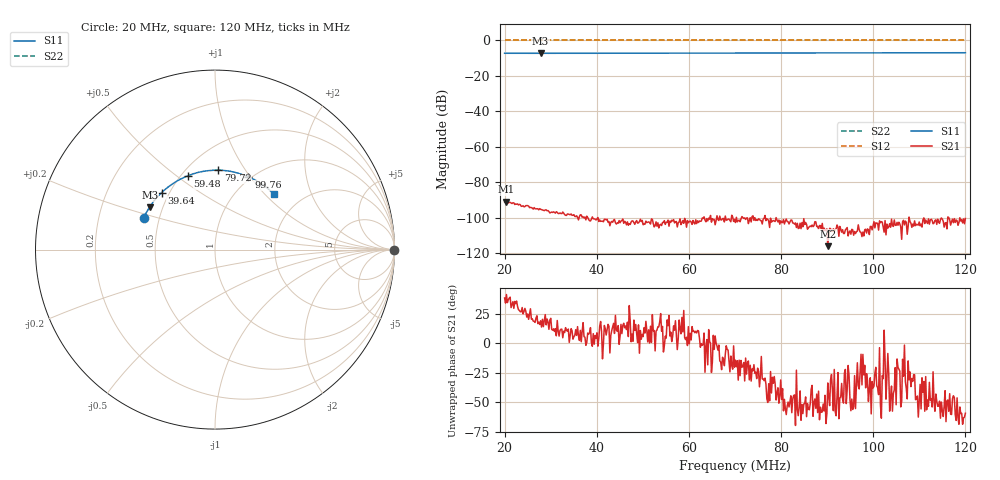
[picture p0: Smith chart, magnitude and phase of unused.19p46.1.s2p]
! Anritsu VNA Master:  Model: MS2036C/10/77
! SN:  1601066
! /bd0/18may08.cable.cal/unused.19p46.1.s2p
! Existing Calibration Information:
! TYPE:  Current Settings,  Active Cal Settings
! TIME:  05/08/2018 04:27:21 PM,  05/08/2018 04:21:58 PM
! INTERNAL TEMP:  50.0 C,  50.0 C
! # POINTS:  500,  500
! START FREQ:  20.000 MHz,  20.000 MHz
! STOP FREQ:  120.000 MHz,  120.000 MHz
! SOURCE POWER:  High,  High
! IFBW:  50 Hz,  50 Hz
! AVG FACTOR:  1 ,  1
! REF PLANE 1:  0 mm,  0 mm
! REF PLANE 2:  0 mm,  0 mm
! CAL TYPE:  Full S11,  Full S11
! CAL METHOD:  SOLT,  SOLT
! CAL LINE TYPE:  Coax,  Coax
! DUT PORT 1:  K-Conn(F),  K-Conn(F)
! DUT PORT 2:  K-Conn(F),  K-Conn(F)
! CAL STATUS:  OK: Accuracy High,  --
# GHZ S DB R 50.0
! FREQ.GHZ  S11DB  S11A  S21DB  S21A  S12DB  S12A  S22DB  S22A
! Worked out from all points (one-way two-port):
!   500 points, 20 MHz to 120 MHz, reference 50 ohm
!   highest |S21| = -90.90 dB at 20.4 MHz (marker M1); lowest = -116.0 dB at 90.14 MHz (marker M2)
!   lowest |S11| = -7.2 dB at 27.82 MHz (marker M3), VSWR 2.53, Z = 21.2 + j12.4 ohm
!   |S11| at or under -10 dB: nowhere
!   |S22| runs from 0.0 to 0.0 dB; largest |S21 - S12| = 1
!   S11 on the Smith chart (normalised r, x): 20 MHz: 0.41, +0.18; 39.64 MHz: 0.45, +0.36; 59.48 MHz: 0.54, +0.55; 79.72 MHz: 0.69, +0.76; 99.76 MHz: 0.97, +0.98; 120 MHz: 1.46, +1.13
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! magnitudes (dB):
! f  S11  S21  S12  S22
! 20 MHz  -7.2  -91.0  0.0  0.0
! 20.4 MHz  -7.2  -90.9  0.0  0.0
! 27.82 MHz  -7.2  -95.2  0.0  0.0
! 30.62 MHz  -7.2  -96.7  0.0  0.0
! 31.62 MHz  -7.2  -97.6  0.0  0.0
! 36.83 MHz  -7.2  -99.7  0.0  0.0
! 39.64 MHz  -7.2  -100.8  0.0  0.0
! 44.65 MHz  -7.2  -103.1  0.0  0.0
! 53.47 MHz  -7.2  -105.7  0.0  0.0
! 59.48 MHz  -7.2  -105.3  0.0  0.0
! 61.68 MHz  -7.2  -103.3  0.0  0.0
! 63.09 MHz  -7.1  -100.4  0.0  0.0
! 64.69 MHz  -7.1  -98.7  0.0  0.0
! 70.1 MHz  -7.1  -102.7  0.0  0.0
! 79.72 MHz  -7.1  -103.6  0.0  0.0
! 86.73 MHz  -7.0  -104.1  0.0  0.0
! 90.14 MHz  -7.0  -116.0  0.0  0.0
! 95.15 MHz  -7.0  -109.3  0.0  0.0
! 99.76 MHz  -7.0  -106.8  0.0  0.0
! 103.4 MHz  -7.0  -105.2  0.0  0.0
! 116.2 MHz  -6.9  -99.5  0.0  0.0
! 120 MHz  -6.9  -100.4  0.0  0.0
